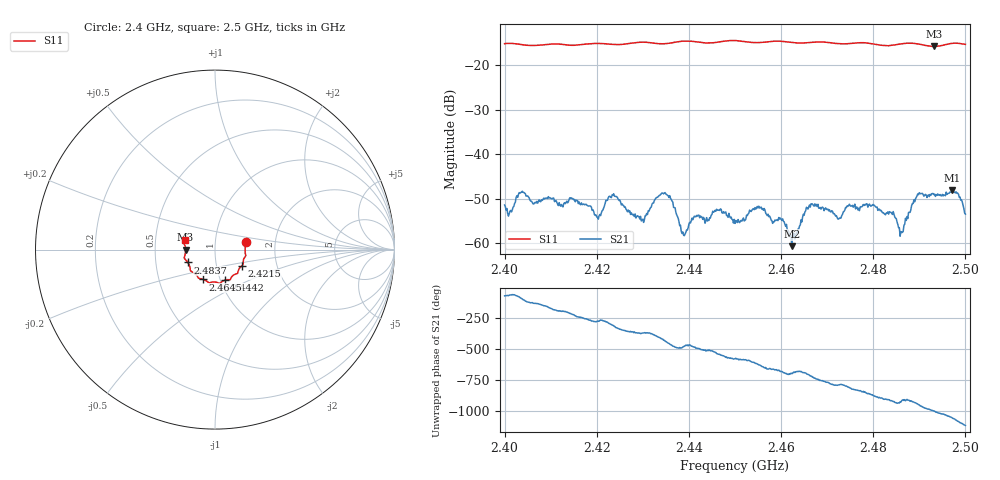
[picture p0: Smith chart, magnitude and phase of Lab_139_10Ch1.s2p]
# Hz S RI R 50
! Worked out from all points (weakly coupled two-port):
!   601 points, 2.4 GHz to 2.5 GHz, reference 50 ohm
!   highest |S21| = -48.07 dB at 2.4972 GHz (marker M1); lowest = -60.7 dB at 2.4623 GHz (marker M2)
!   lowest |S11| = -15.7 dB at 2.4932 GHz (marker M3), VSWR 1.39, Z = 35.9 - j0.0414 ohm
!   |S11| at or under -10 dB: start of sweep to end of sweep
!   S12 and S22 are empty: the file has one direction only
!   S11 on the Smith chart (normalised r, x): 2.4 GHz: 1.41, +0.12; 2.4215 GHz: 1.33, -0.25; 2.4442 GHz: 1.05, -0.37; 2.4645 GHz: 0.83, -0.29; 2.4837 GHz: 0.73, -0.11; 2.5 GHz: 0.71, +0.07
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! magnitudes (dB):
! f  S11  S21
! 2.4 GHz  -15.1  -51.4
! 2.4037 GHz  -15.3  -48.6
! 2.4167 GHz  -15.3  -50.9
! 2.4215 GHz  -15.1  -52.1
! 2.4238 GHz  -15.3  -49.4
! 2.4298 GHz  -14.8  -54.8
! 2.4333 GHz  -15.1  -49.5
! 2.436 GHz  -15.0  -49.9
! 2.4388 GHz  -14.5  -58.2
! 2.4442 GHz  -15.0  -54.9
! 2.45 GHz  -14.4  -55.6
! 2.4553 GHz  -14.9  -52.1
! 2.4623 GHz  -14.8  -60.7
! 2.4645 GHz  -15.0  -55.2
! 2.4667 GHz  -14.8  -51.1
! 2.4833 GHz  -15.6  -53.5
! 2.4837 GHz  -15.5  -53.0
! 2.486 GHz  -15.2  -57.4
! 2.4897 GHz  -15.1  -48.9
! 2.4932 GHz  -15.7  -49.1
! 2.4972 GHz  -15.0  -48.1
! 2.5 GHz  -15.3  -53.5
